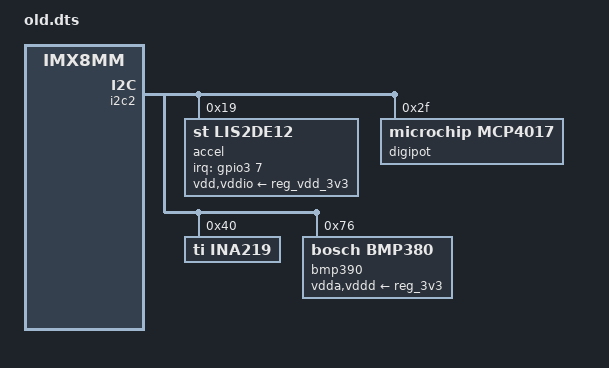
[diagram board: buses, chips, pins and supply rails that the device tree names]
/dts-v1/;
/plugin/;

#include <dt-bindings/gpio/gpio.h>
#include <dt-bindings/interrupt-controller/irq.h>

/ {
	compatible = "toradex,verdin-imx8mm";
};

&i2c2 {   
	#address-cells = <1>;
	#size-cells = <0>;
	status = "okay";
	
	accel@19 {
		compatible = "st,lis2de12";
		reg = <0x19>;
		status = "okay";
		vdd-supply = <&reg_vdd_3v3>;
		vddio-supply = <&reg_vdd_3v3>;
		st,drdy-int-pin = <1>;
		drive-open-drain;
		interrupt-parent = <&gpio3>;
		interrupts = <7 IRQ_TYPE_EDGE_RISING>;
	};
	
	digipot@2f {
		compatible = "microchip,mcp4017";
		reg = <0x2f>;
		status = "okay";
	};
	
	ina219@40 {
		compatible = "ti,ina219";
		reg = <0x40>;
		status = "okay";
		shunt-resistor = <100000>;
	};
	
	bmp390@76 {
		compatible = "bosch,bmp380";
		reg = <0x76>;
		status = "okay";
		
		vdda-supply = <&reg_3v3>;  
		vddd-supply = <&reg_3v3>;  
	};
};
